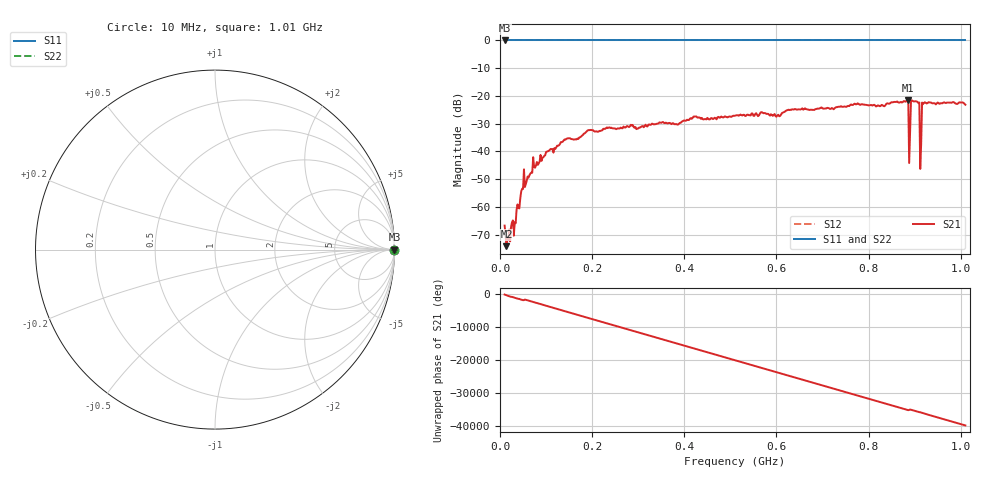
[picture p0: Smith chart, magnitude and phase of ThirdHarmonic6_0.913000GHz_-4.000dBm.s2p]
! 8/16/2025 5:51:47 AM
! C:\ANRITSUVNA\TEMP\TEMP.S2P
! CHANNEL.1
! TR.MEASUREMENT
! RAW.DATA
! RF.CORRECTION.OFF
! AVERAGING.OFF
! IF.BANDWIDTH: 5KHZ
! SWEEPTYPE:  FREQ.SWEEP(Linear)
! Reference Plane Port Info
! PORT:  PORT1  PORT2
! DISTANCE:  0  m  0  m
! TIME:  0  s  0  s
! PHASE.OFFSET:  0  deg.  0  deg.
! LOSS:  0  dB  0  dB
! REF.LOSS:  0  dB  0  dB
! REF.FREQ:  0  Hz  0  Hz
! Power Info
! POWER:  -20  dBm  -20  dBm
! EFF.POWER:  -20  dBm  -20  dBm
! SOURCE.ATTEN:  0  dB  0  dB
! TEST.ATTEN:  0  dB  0  dB
# GHZ S RI R 50.0
! FREQ.GHZ  S11RE  S11IM  S21RE  S21IM  S12RE  S12IM  S22RE  S22IM
!; PortSelection: Port_12
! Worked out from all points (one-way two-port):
!   501 points, 10 MHz to 1.01 GHz, reference 50 ohm
!   highest |S21| = -21.51 dB at 886 MHz (marker M1); lowest = -74.1 dB at 14 MHz (marker M2)
!   lowest |S11| = 0.0 dB at 10 MHz (marker M3)
!   |S11| at or under -10 dB: nowhere
!   |S22| runs from 0.0 to 0.0 dB; largest |S21 - S12| = 1.1
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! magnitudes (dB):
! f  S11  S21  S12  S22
! 10 MHz  0.0  -66.7  0.0  0.0
! 14 MHz  0.0  -74.1  0.0  0.0
! 18 MHz  0.0  -72.0  0.0  0.0
! 32 MHz  0.0  -65.5  0.0  0.0
! 48 MHz  0.0  -53.4  0.0  0.0
! 76 MHz  0.0  -45.9  0.0  0.0
! 142 MHz  0.0  -35.8  0.0  0.0
! 178 MHz  0.0  -34.3  0.0  0.0
! 194 MHz  0.0  -32.3  0.0  0.0
! 344 MHz  0.0  -29.9  0.0  0.0
! 510 MHz  0.0  -27.1  0.0  0.0
! 678 MHz  0.0  -25.0  0.0  0.0
! 844 MHz  0.0  -22.8  0.0  0.0
! 882 MHz  0.0  -21.9  0.0  0.0
! 886 MHz  0.0  -21.5  0.0  0.0
! 892 MHz  0.0  -21.6  0.0  0.0
! 896 MHz  0.0  -21.9  0.0  0.0
! 906 MHz  0.0  -22.1  0.0  0.0
! 910 MHz  0.0  -22.4  0.0  0.0
! 916 MHz  0.0  -22.4  0.0  0.0
! 920 MHz  0.0  -22.5  0.0  0.0
! 1.01 GHz  0.0  -23.2  0.0  0.0
